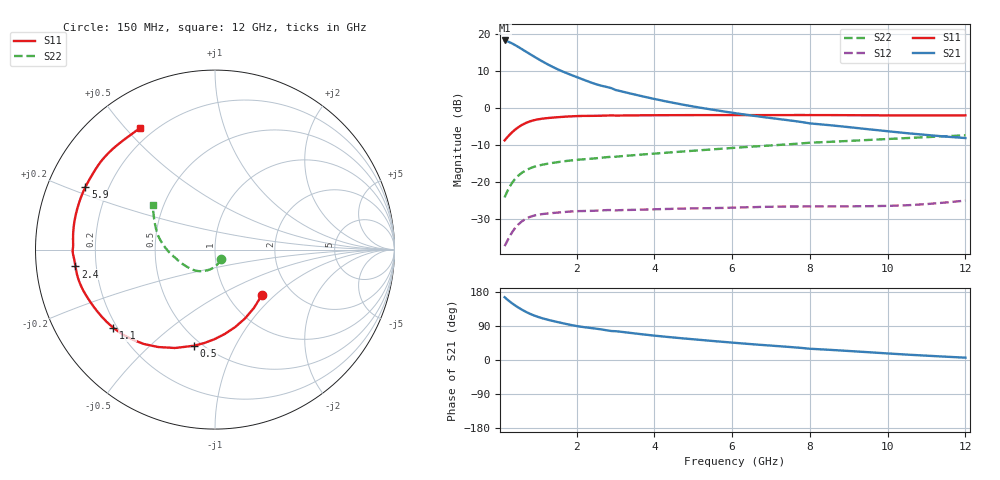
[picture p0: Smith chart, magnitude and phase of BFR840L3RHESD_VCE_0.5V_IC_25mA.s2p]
! Infineon Technologies  Discrete & RF Semiconductors
! BFR840L3RHESD
! VCE =  0.5 V,  IC =  25 mA
! Common Emitter S-Parameters:  Jun 2012
# GHz  S  MA  R  50
!  f  S11  S21  S12  S22
! GHz  MAG  ANG  MAG  ANG  MAG  ANG  MAG  ANG
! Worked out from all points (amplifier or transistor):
!   91 points, 150 MHz to 12 GHz, reference 50 ohm
!   highest |S21| = 18.3 dB at 150 MHz (marker M1)
!   |S21| within 3 dB of that: start of sweep to 695.5 MHz
!   unconditionally stable (mu >= 1): start of sweep to end of sweep
!   at 1.3 GHz: K = 1.58, MAG = 15.6 dB, |S12| = -28.5 dB
!   at 4.3 GHz: K = 3.22, MAG = 6.6 dB, |S12| = -27.3 dB
!   at 12 GHz: K = 7.10, MAG = -3.0 dB, |S12| = -25.1 dB
!   S11 on the Smith chart (normalised r, x): 150 MHz: 1.42, -0.83; 500 MHz: 0.46, -0.70; 1.1 GHz: 0.18, -0.33; 2.4 GHz: 0.12, -0.06; 5.9 GHz: 0.12, +0.23; 12 GHz: 0.15, +0.55
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0.15  0.3642 -44.4  8.202 165.7  0.0135 31.2  0.0615 -55.1
0.25  0.4186 -66.5  7.871 156.9  0.0171 38.7  0.0805 -78.2
0.3  0.446 -75.4  7.662 152.9  0.0191 39.5  0.0897 -86.3
0.4  0.4991 -90.3  7.196 145.4  0.023 38.5  0.1066 -99.1
0.5  0.5481 -102.3  6.71 138.6  0.0265 36.4  0.1212 -108.9
0.6  0.5917 -112.1  6.235 132.5  0.0294 34.0  0.1337 -116.7
0.7  0.6287 -120.3  5.787 126.9  0.0318 31.9  0.144 -123.1
0.8  0.6589 -127.1  5.372 122.0  0.0336 29.9  0.1525 -128.4
1  0.7008 -138.0  4.645 114.0  0.0359 26.7  0.1651 -136.7
1.1  0.7148 -142.4  4.331 110.8  0.0366 25.4  0.1699 -140.0
1.3  0.7345 -149.8  3.795 105.2  0.0376 23.2  0.1778 -145.3
1.6  0.7561 -158.2  3.19 98.1  0.0388 20.8  0.1878 -151.1
1.9  0.7729 -164.6  2.752 91.6  0.0399 19.1  0.1962 -155.4
2.2  0.7813 -169.9  2.393 86.6  0.0404 17.9  0.2026 -159.0
2.4  0.783 -173.1  2.187 84.0  0.0406 17.2  0.2065 -161.1
3  0.791 179.0  1.755 76.0  0.0411 17.4  0.2187 -166.0
4.2  0.7991 167.4  1.26 62.3  0.0429 17.2  0.2459 -174.0
5.9  0.8017 154.3  0.879 46.8  0.0447 18.4  0.2853 175.7
6.1  0.8014 152.9  0.848 45.1  0.0449 18.4  0.2901 174.6
8.5  0.8013 138.0  0.586 26.9  0.0466 21.0  0.3482 160.6
10.5  0.7938 128.1  0.456 14.2  0.0483 26.8  0.3919 150.7
12  0.7953 121.8  0.392 6.1  0.0558 30.2  0.4271 144.2
